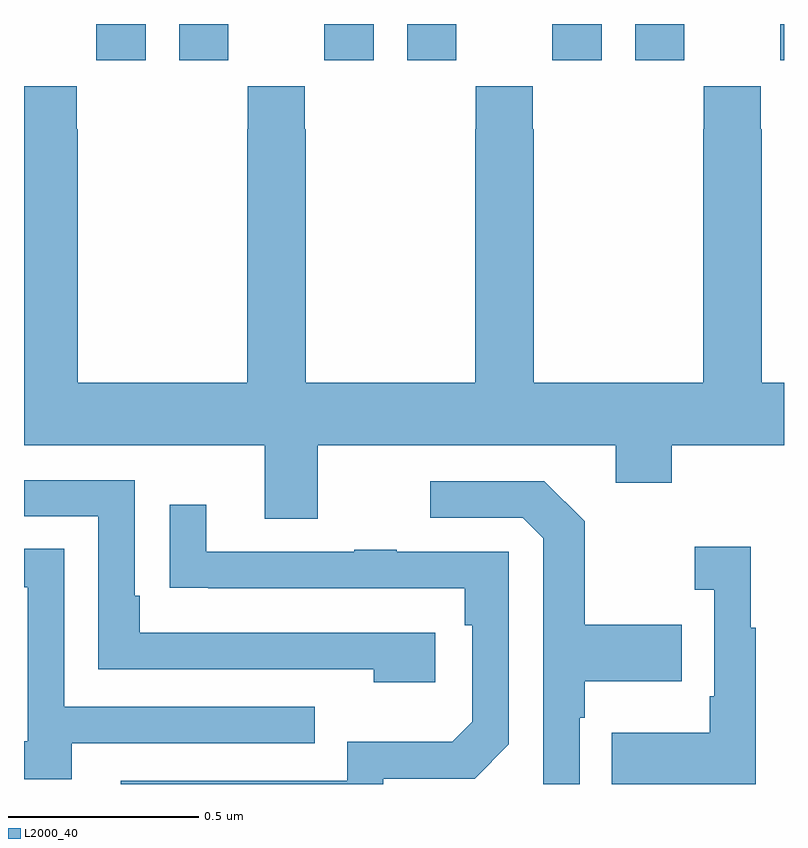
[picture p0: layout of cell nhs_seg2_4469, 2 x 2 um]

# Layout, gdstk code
import gdstk
lib = gdstk.Library(unit=1e-6, precision=1e-09)
def R(c, l, rs):  # rectangles x0, y0, x1, y1
    for r in rs: c.add(gdstk.rectangle(r[:2], r[2:], *l))
def P(c, l, *ps):  # polygons
    for p in ps: c.add(gdstk.Polygon(p, *l))
L2000_40 = (2000, 40)

nhs_seg2_4469 = lib.new_cell('nhs_seg2_4469')
R(nhs_seg2_4469, L2000_40, [(167.19,592.704,167.32,592.8), (167.408,592.704,167.538,592.8), (167.79,592.704,167.92,592.8), (168.008,592.704,168.138,592.8), (168.39,592.704,168.52,592.8), (168.608,592.704,168.738,592.8), (168.99,592.704,169,592.8)])
P(nhs_seg2_4469, L2000_40, [(167.139,592.523),(167.139,592.636),(167,592.636),(167,591.692),(167.633,591.692),(167.633,591.498),(167.773,591.498),(167.773,591.692),(168.557,591.692),(168.557,591.593),(168.705,591.593),(168.705,591.692),(169,591.692),(169,591.856),(168.942,591.856),(168.942,592.523),(168.939,592.523),(168.939,592.636),(168.789,592.636),(168.789,592.523),(168.787,592.523),(168.787,591.856),(168.342,591.856),(168.342,592.523),(168.339,592.523),(168.339,592.636),(168.189,592.636),(168.189,592.523),(168.187,592.523),(168.187,591.856),(167.742,591.856),(167.742,592.523),(167.739,592.523),(167.739,592.636),(167.589,592.636),(167.589,592.523),(167.587,592.523),(167.587,591.856),(167.142,591.856),(167.142,592.523)],
  [(168.082,591.198),(167.305,591.198),(167.305,591.295),(167.292,591.295),(167.292,591.6),(167,591.6),(167,591.504),(167.196,591.504),(167.196,591.102),(167.921,591.102),(167.921,591.068),(168.082,591.068)],
  [(168.462,590.975),(168.475,590.975),(168.475,591.071),(168.731,591.071),(168.731,591.219),(168.475,591.219),(168.475,591.491),(168.369,591.597),(168.069,591.597),(168.069,591.501),(168.312,591.501),(168.366,591.447),(168.366,590.8),(168.462,590.8)],
  [(167.946,590.814),(168.186,590.814),(168.276,590.904),(168.276,591.411),(167.981,591.411),(167.981,591.416),(167.869,591.416),(167.869,591.411),(167.479,591.411),(167.479,591.535),(167.383,591.535),(167.383,591.316),(167.485,591.316),(167.485,591.315),(168.16,591.315),(168.16,591.218),(168.18,591.218),(168.18,590.964),(168.127,590.911),(167.85,590.911),(167.85,590.808),(167.255,590.808),(167.255,590.8),(167.946,590.8)],
  [(168.925,591.211),(168.913,591.211),(168.913,591.424),(168.765,591.424),(168.765,591.311),(168.816,591.311),(168.816,591.031),(168.804,591.031),(168.804,590.935),(168.547,590.935),(168.547,590.8),(168.925,590.8)],
  [(167.125,590.907),(167.765,590.907),(167.765,591.003),(167.106,591.003),(167.106,591.419),(167,591.419),(167,591.318),(167.01,591.318),(167.01,590.913),(167,590.913),(167,590.813),(167.125,590.813)])

lib.write_gds('nhs_seg2_4469.gds')
